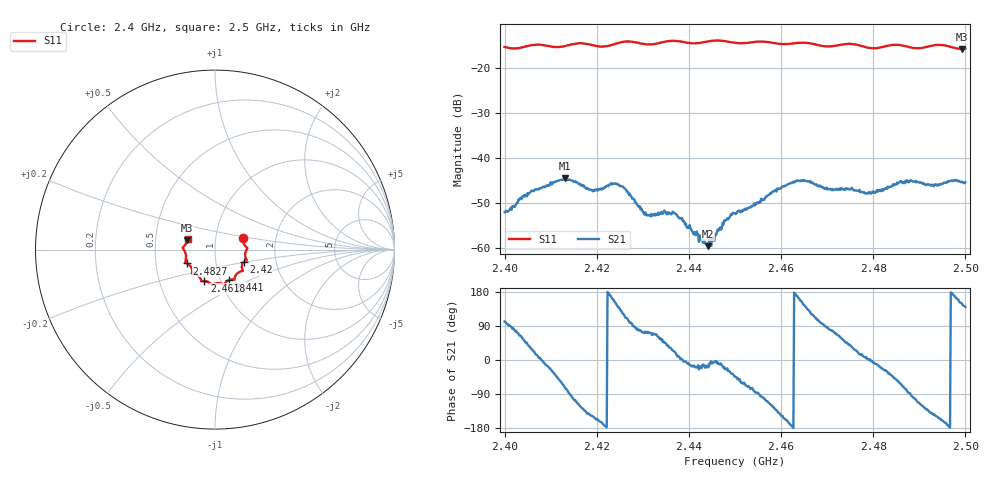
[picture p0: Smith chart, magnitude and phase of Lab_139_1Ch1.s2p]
# Hz S RI R 50
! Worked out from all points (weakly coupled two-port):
!   601 points, 2.4 GHz to 2.5 GHz, reference 50 ohm
!   highest |S21| = -44.52 dB at 2.4132 GHz (marker M1); lowest = -59.6 dB at 2.4442 GHz (marker M2)
!   lowest |S11| = -15.8 dB at 2.4993 GHz (marker M3), VSWR 1.39, Z = 36.5 + j3.82 ohm
!   |S11| at or under -10 dB: start of sweep to end of sweep
!   S12 and S22 are empty: the file has one direction only
!   S11 on the Smith chart (normalised r, x): 2.4 GHz: 1.36, +0.18; 2.42 GHz: 1.36, -0.20; 2.441 GHz: 1.10, -0.39; 2.4618 GHz: 0.84, -0.30; 2.4827 GHz: 0.72, -0.12; 2.5 GHz: 0.73, +0.09
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2.4e9  0.1585 0.0627  -0.000505 0.00244  0 0  0 0
2.4055e9  0.1769 0.0122  0.00341 0.00228  0 0  0 0
2.413167e9  0.1699 -0.0412  0.00154 -0.00574  0 0  0 0
2.416667e9  0.1771 -0.061  -0.00297 -0.00409  0 0  0 0
2.42e9  0.1595 -0.0702  -0.00406 -0.00188  0 0  0 0
2.424333e9  0.1522 -0.109  -0.00416 0.00292  0 0  0 0
2.426167e9  0.1564 -0.118  -0.00177 0.0042  0 0  0 0
2.4305e9  0.1317 -0.1273  0.000648 0.00241  0 0  0 0
2.433333e9  0.1115 -0.151  0.0012 0.00216  0 0  0 0
2.437e9  0.1077 -0.1676  0.00226 0.000838  0 0  0 0
2.441e9  0.0786 -0.1697  0.00135 -0.000412  0 0  0 0
2.444167e9  0.0546 -0.1888  0.00101 -0.000256  0 0  0 0
2.45e9  0.0287 -0.1873  0.00173 -0.00169  0 0  0 0
2.461833e9  -0.0591 -0.1752  -0.00505 -0.00113  0 0  0 0
2.466667e9  -0.0785 -0.1684  -0.00282 0.00456  0 0  0 0
2.4785e9  -0.1282 -0.1104  0.00398 0.000499  0 0  0 0
2.482667e9  -0.1559 -0.0773  0.00402 -0.00205  0 0  0 0
2.483333e9  -0.1603 -0.0754  0.0038 -0.00276  0 0  0 0
2.487833e9  -0.1618 -0.0515  0.000273 -0.00555  0 0  0 0
2.492667e9  -0.1761 0.003  -0.00373 -0.0032  0 0  0 0
2.499333e9  -0.154 0.051  -0.00455 0.00298  0 0  0 0
2.5e9  -0.1523 0.0607  -0.0041 0.00344  0 0  0 0
